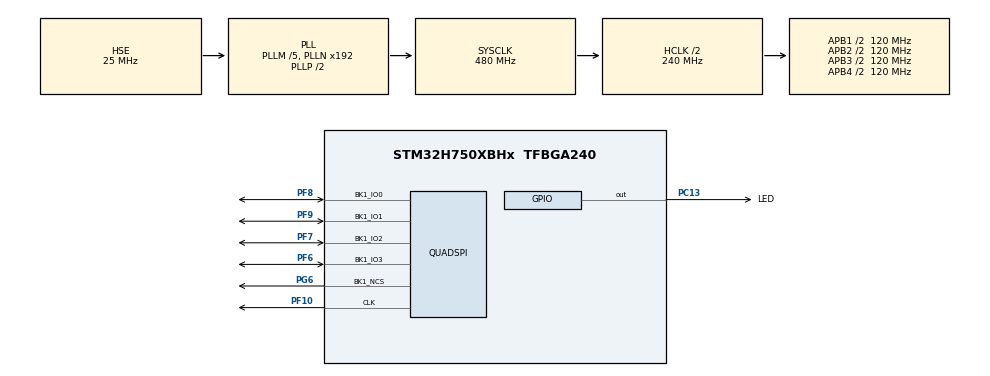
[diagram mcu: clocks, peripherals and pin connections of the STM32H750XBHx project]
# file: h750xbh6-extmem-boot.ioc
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Mcu.Family=STM32H7
Mcu.Name=STM32H750XBHx
Mcu.Package=TFBGA240
NVIC.PriorityGroup=NVIC_PRIORITYGROUP_4
PC13.GPIO_Label=LED
PC13.Signal=GPIO_Output
PF10.Mode=Single Bank 1
PF10.Signal=QUADSPI_CLK
PF6.Mode=Single Bank 1
PF6.Signal=QUADSPI_BK1_IO3
PF7.Mode=Single Bank 1
PF7.Signal=QUADSPI_BK1_IO2
PF8.Mode=Single Bank 1
PF8.Signal=QUADSPI_BK1_IO0
PF9.Mode=Single Bank 1
PF9.Signal=QUADSPI_BK1_IO1
PG6.Mode=Single Bank 1
PG6.Signal=QUADSPI_BK1_NCS
PH0-OSC_IN\ (PH0).Mode=HSE-External-Oscillator
PH0-OSC_IN\ (PH0).Signal=RCC_OSC_IN
PH1-OSC_OUT\ (PH1).Mode=HSE-External-Oscillator
PH1-OSC_OUT\ (PH1).Signal=RCC_OSC_OUT
ProjectManager.HeapSize=0x200
ProjectManager.StackSize=0x400
ProjectManager.TargetToolchain=STM32CubeIDE
QUADSPI.ClockMode=QSPI_CLOCK_MODE_3
QUADSPI.ClockPrescaler=6
QUADSPI.FifoThreshold=32
QUADSPI.FlashSize=22
QUADSPI.SampleShifting=QSPI_SAMPLE_SHIFTING_HALFCYCLE
RCC.ADCFreq_Value=50390625
RCC.APB1Freq_Value=120000000
RCC.APB2Freq_Value=120000000
RCC.APB3Freq_Value=120000000
RCC.APB4Freq_Value=120000000
RCC.CortexFreq_Value=480000000
RCC.D1PPRE=RCC_APB3_DIV2
RCC.D2PPRE1=RCC_APB1_DIV2
RCC.D2PPRE2=RCC_APB2_DIV2
RCC.D3PPRE=RCC_APB4_DIV2
RCC.DIVM1=5
RCC.DIVN1=192
RCC.HCLKFreq_Value=240000000
RCC.HPRE=RCC_HCLK_DIV2
RCC.HSE_VALUE=25000000
RCC.PLL2FRACN=0
RCC.PLL3FRACN=0
RCC.PLLFRACN=0
RCC.PLLSourceVirtual=RCC_PLLSOURCE_HSE
RCC.SYSCLKFreq_VALUE=480000000
RCC.SYSCLKSource=RCC_SYSCLKSOURCE_PLLCLK
RCC.USBFreq_Value=480000000
board=custom

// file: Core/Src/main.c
/* USER CODE BEGIN Header */
/**
 ******************************************************************************
 * @file           : main.c
 * @brief          : Main program body
 ******************************************************************************
 * @attention
 *
 * Copyright (c) 2023 STMicroelectronics.
 * All rights reserved.
 *
 * This software is licensed under terms that can be found in the LICENSE file
 * in the root directory of this software component.
 * If no LICENSE file comes with this software, it is provided AS-IS.
 *
 ******************************************************************************
 */
/* USER CODE END Header */
#include "main.h"
#include "quadspi.h"
#include "gpio.h"

/* USER CODE BEGIN Includes */
#include "qspi_w25q64.h"
/* USER CODE END Includes */

/* USER CODE BEGIN PD */
//#define TEST_MEMORY
/* USER CODE END PD */

void SystemClock_Config(void);
/* USER CODE BEGIN PFP */
typedef void (*pFunction)(void);

/* USER CODE END PFP */

/* USER CODE BEGIN 0 */
#ifdef USE_BOOTLOADER
#define VECT_TAB_OFFSET      0x00000000UL
#define APPLICATION_ADDRESS  0x90000000UL

typedef void (*pFunction)(void);
pFunction JumpToApplication;
#endif
#ifdef TEST_MEMORY
#include <string.h>
#define SECTORS_COUNT 100
extern int
Write(uint32_t Address, uint32_t Size, uint8_t* buffer);
extern int
SectorErase(uint32_t EraseStartAddress, uint32_t EraseEndAddress);
#define LOADER_OK   0x1
#endif
/* USER CODE END 0 */

int main(void) {

	/* MCU Configuration--------------------------------------------------------*/

	/* Reset of all peripherals, Initializes the Flash interface and the Systick. */
	HAL_Init();

	/* Configure the system clock */
	SystemClock_Config();

	/* Initialize all configured peripherals */
	MX_GPIO_Init();
	MX_QUADSPI_Init();
	/* USER CODE BEGIN 2 */
	QSPI_W25Qxx_Init();
#ifdef USE_BOOTLOADER
	QSPI_W25Qxx_MemoryMappedMode();
	SysTick->CTRL = 0;
	SysTick->LOAD = 0;
	SysTick->VAL = 0;
	for (uint8_t i = 0; i < 8; i++) {
		NVIC->ICER[i] = 0xFFFFFFFF;
		NVIC->ICPR[i] = 0xFFFFFFFF;
	}
	__set_CONTROL(0);
	__disable_irq();
	__set_PRIMASK(1);

	JumpToApplication = (pFunction) (*(__IO uint32_t*) (APPLICATION_ADDRESS + 4));
	__set_MSP(*(__IO uint32_t*) APPLICATION_ADDRESS);
	JumpToApplication();
	while (1) {
		HAL_Delay(250);
		HAL_GPIO_TogglePin(LED_GPIO_Port, LED_Pin);
	}
#endif
#ifdef TEST_MEMORY
	uint8_t buffer_test[MEMORY_SECTOR_SIZE];
	uint32_t var = 0;

	for (var = 0; var < MEMORY_SECTOR_SIZE; var++) {
	    buffer_test[var] = (var & 0xff);
	}

	for (var = 0; var < SECTORS_COUNT; var++) {

	    if (SectorErase(var * MEMORY_SECTOR_SIZE, (var + 1) * MEMORY_SECTOR_SIZE - 1) != LOADER_OK) {

	        while (1)
	            ;  //breakpoint - error detected
	    }

	    if (Write(var * MEMORY_SECTOR_SIZE, sizeof(buffer_test), buffer_test) != LOADER_OK) {

	        while (1)
	            ;  //breakpoint - error detected
	    }

	}

	if (QSPI_W25Qxx_MemoryMappedMode() != HAL_OK) {

	    while (1)
	        ; //breakpoint - error detected
	}

	for (var = 0; var < SECTORS_COUNT; var++) {
	    if (memcmp(buffer_test,
	               (uint8_t*) (0x90000000 + var * MEMORY_SECTOR_SIZE),
	               MEMORY_SECTOR_SIZE) != HAL_OK) {
	        while (1)
	            ;  //breakpoint - error detected - otherwise QSPI works properly
	    }
	}
#endif
	/* USER CODE END 2 */

	/* Infinite loop */
	while (1) {

	}
}

void SystemClock_Config(void) {
	RCC_OscInitTypeDef RCC_OscInitStruct = { 0 };
	RCC_ClkInitTypeDef RCC_ClkInitStruct = { 0 };

	/** Supply configuration update enable
	 */
	HAL_PWREx_ConfigSupply(PWR_LDO_SUPPLY);

	/** Configure the main internal regulator output voltage
	 */
	__HAL_PWR_VOLTAGESCALING_CONFIG(PWR_REGULATOR_VOLTAGE_SCALE1);

	while (!__HAL_PWR_GET_FLAG(PWR_FLAG_VOSRDY)) {
	}

	__HAL_RCC_SYSCFG_CLK_ENABLE();
	__HAL_PWR_VOLTAGESCALING_CONFIG(PWR_REGULATOR_VOLTAGE_SCALE0);

	while (!__HAL_PWR_GET_FLAG(PWR_FLAG_VOSRDY)) {
	}

	/** Initializes the RCC Oscillators according to the specified parameters
	 * in the RCC_OscInitTypeDef structure.
	 */
	RCC_OscInitStruct.OscillatorType = RCC_OSCILLATORTYPE_HSE;
	RCC_OscInitStruct.HSEState = RCC_HSE_ON;
	RCC_OscInitStruct.PLL.PLLState = RCC_PLL_ON;
	RCC_OscInitStruct.PLL.PLLSource = RCC_PLLSOURCE_HSE;
	RCC_OscInitStruct.PLL.PLLM = 5;
	RCC_OscInitStruct.PLL.PLLN = 192;
	RCC_OscInitStruct.PLL.PLLP = 2;
	RCC_OscInitStruct.PLL.PLLQ = 2;
	RCC_OscInitStruct.PLL.PLLR = 2;
	RCC_OscInitStruct.PLL.PLLRGE = RCC_PLL1VCIRANGE_2;
	RCC_OscInitStruct.PLL.PLLVCOSEL = RCC_PLL1VCOWIDE;
	RCC_OscInitStruct.PLL.PLLFRACN = 0;
	if (HAL_RCC_OscConfig(&RCC_OscInitStruct) != HAL_OK) {
		Error_Handler();
	}

	/** Initializes the CPU, AHB and APB buses clocks
	 */
	RCC_ClkInitStruct.ClockType = RCC_CLOCKTYPE_HCLK | RCC_CLOCKTYPE_SYSCLK | RCC_CLOCKTYPE_PCLK1 | RCC_CLOCKTYPE_PCLK2
			| RCC_CLOCKTYPE_D3PCLK1 | RCC_CLOCKTYPE_D1PCLK1;
	RCC_ClkInitStruct.SYSCLKSource = RCC_SYSCLKSOURCE_PLLCLK;
	RCC_ClkInitStruct.SYSCLKDivider = RCC_SYSCLK_DIV1;
	RCC_ClkInitStruct.AHBCLKDivider = RCC_HCLK_DIV2;
	RCC_ClkInitStruct.APB3CLKDivider = RCC_APB3_DIV2;
	RCC_ClkInitStruct.APB1CLKDivider = RCC_APB1_DIV2;
	RCC_ClkInitStruct.APB2CLKDivider = RCC_APB2_DIV2;
	RCC_ClkInitStruct.APB4CLKDivider = RCC_APB4_DIV2;

	if (HAL_RCC_ClockConfig(&RCC_ClkInitStruct, FLASH_LATENCY_4) != HAL_OK) {
		Error_Handler();
	}
}

void Error_Handler(void) {
	__disable_irq();
	while (1) {
	}
}
